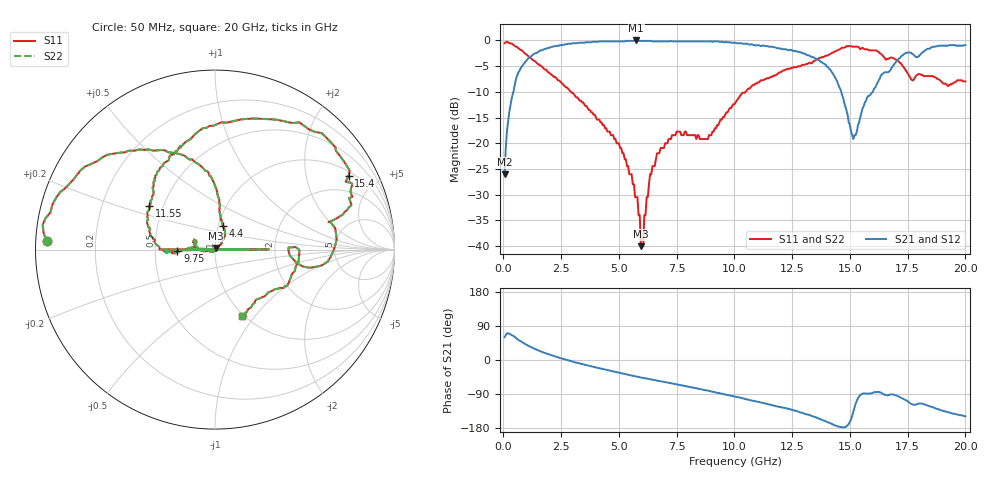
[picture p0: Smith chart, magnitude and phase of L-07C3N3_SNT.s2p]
#	mhz	s	ma	r	50
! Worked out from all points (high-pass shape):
!   400 points, 50 MHz to 20 GHz, reference 50 ohm
!   highest |S21| = 0.00 dB at 5.75 GHz (marker M1); lowest = -26.0 dB at 50 MHz (marker M2)
!   |S21| within 3 dB of the highest: 1.22 GHz to 13.26 GHz (12.04 GHz wide, 166 % of centre); 17.99 GHz to end of sweep (the widest 2 of 3)
!   lowest |S11| = -40.0 dB at 5.95 GHz (marker M3), VSWR 1.02, Z = 50.5 + j0.859 ohm
!   |S11| at or under -10 dB: 2.919 GHz to 10.48 GHz (7.563 GHz wide, 113 % of centre)
!   |S22| runs from -40.0 to -0.3 dB; largest |S21 - S12| = 0
!   S11 on the Smith chart (normalised r, x): 50 MHz: 0.03, +0.03; 4.4 GHz: 1.05, +0.29; 9.75 GHz: 0.65, -0.01; 11.55 GHz: 0.42, +0.25; 15.4 GHz: 1.18, +3.51; 20 GHz: 0.97, -0.86
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50  0.94 177.0  0.05 60.2  0.05 60.2  0.94 177.0
250  0.94 167.3  0.2 69.8  0.2 69.8  0.94 167.3
750  0.81 140.5  0.54 49.6  0.54 49.6  0.81 140.5
3400  0.25 84.1  0.95 -10.7  0.95 -10.7  0.25 84.1
4400  0.14 72.1  0.98 -25.0  0.98 -25.0  0.14 72.1
5750  0.03 43.9  1 -43.6  1 -43.6  0.03 43.9
5950  0.01 58.2  0.99 -46.0  0.99 -46.0  0.01 58.2
6700  0.08 -176.9  0.98 -55.0  0.98 -55.0  0.08 -176.9
9350  0.16 178.9  0.97 -87.5  0.97 -87.5  0.16 178.9
9400  0.17 -0.1  0.97 -88.1  0.97 -88.1  0.17 -0.1
9450  0.17 -179.1  0.97 -88.8  0.97 -88.8  0.17 -179.1
9750  0.21 -177.3  0.96 -93.1  0.96 -93.1  0.21 -177.3
10050  0.25 -177.5  0.95 -97.1  0.95 -97.1  0.25 -177.5
10250  0.29 -179.1  0.94 -99.6  0.94 -99.6  0.29 -179.1
10300  0.3 0.3  0.94 -100.4  0.94 -100.4  0.3 0.3
10350  0.31 179.7  0.93 -101.2  0.93 -101.2  0.31 179.7
11550  0.44 146.4  0.87 -117.9  0.87 -117.9  0.44 146.4
13350  0.6 108.7  0.69 -147.8  0.69 -147.8  0.6 108.7
14650  0.85 56.5  0.3 -177.2  0.3 -177.2  0.85 56.5
15400  0.85 28.9  0.16 -96.4  0.16 -96.4  0.85 28.9
16700  0.67 11.8  0.5 -92.0  0.5 -92.0  0.67 11.8
20000  0.4 -68.2  0.9 -148.5  0.9 -148.5  0.4 -68.2
